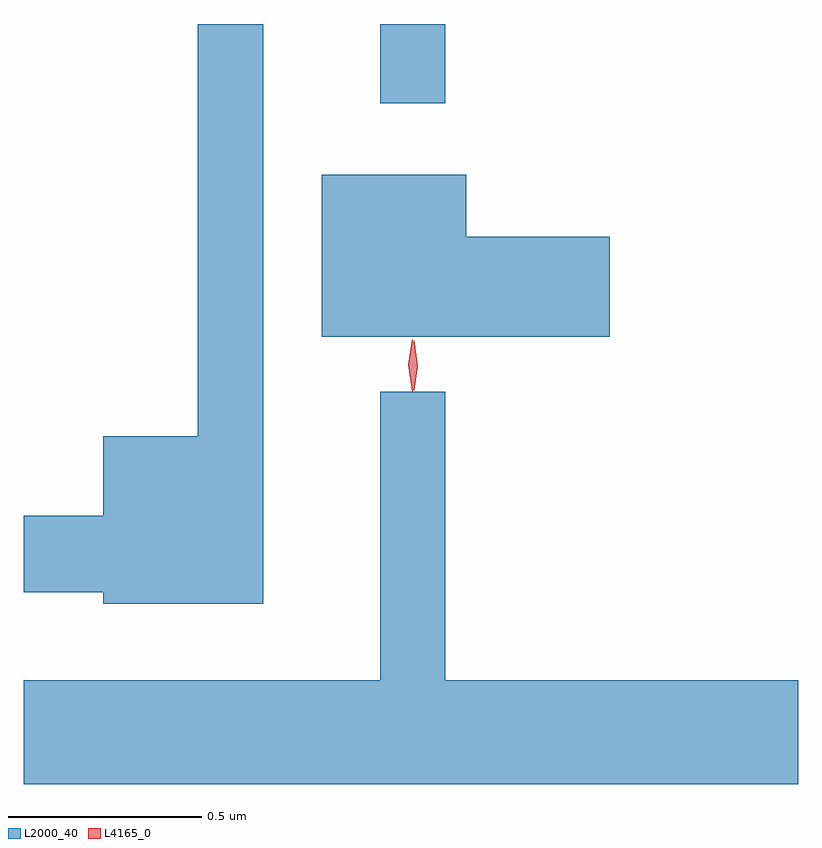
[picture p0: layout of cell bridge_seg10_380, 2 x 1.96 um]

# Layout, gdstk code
import gdstk
lib = gdstk.Library(unit=1e-6, precision=1e-09)
def R(c, l, rs):  # rectangles x0, y0, x1, y1
    for r in rs: c.add(gdstk.rectangle(r[:2], r[2:], *l))
def P(c, l, *ps):  # polygons
    for p in ps: c.add(gdstk.Polygon(p, *l))
L2000_40 = (2000, 40)
L4165_0 = (4165, 0)

bridge_seg10_380 = lib.new_cell('bridge_seg10_380')
R(bridge_seg10_380, L2000_40, [(1230.921,2177.833,1231.089,2178.038)])
P(bridge_seg10_380, L2000_40, [(1230.619,2178.038),(1230.451,2178.038),(1230.451,2176.974),(1230.206,2176.974),(1230.206,2176.769),(1230.001,2176.769),(1230.001,2176.571),(1230.206,2176.571),(1230.206,2176.541),(1230.619,2176.541)],
  [(1231.514,2177.489),(1231.144,2177.489),(1231.144,2177.649),(1230.771,2177.649),(1230.771,2177.231),(1231.514,2177.231)],
  [(1232.001,2176.344),(1231.089,2176.344),(1231.089,2177.088),(1230.921,2177.088),(1230.921,2176.344),(1230.001,2176.344),(1230.001,2176.076),(1232.001,2176.076)])
P(bridge_seg10_380, L4165_0, [(1231.004,2177.09),(1230.994,2177.158),(1231.004,2177.225),(1231.004,2177.226),(1231.004,2177.225),(1231.014,2177.158),(1231.005,2177.09),(1231.005,2177.09)],
  [(1231.008,2177.093),(1231.008,2177.093),(1230.998,2177.156),(1231.008,2177.22),(1231.008,2177.22),(1231.009,2177.22),(1231.018,2177.156),(1231.009,2177.093)])

lib.write_gds('bridge_seg10_380.gds')
